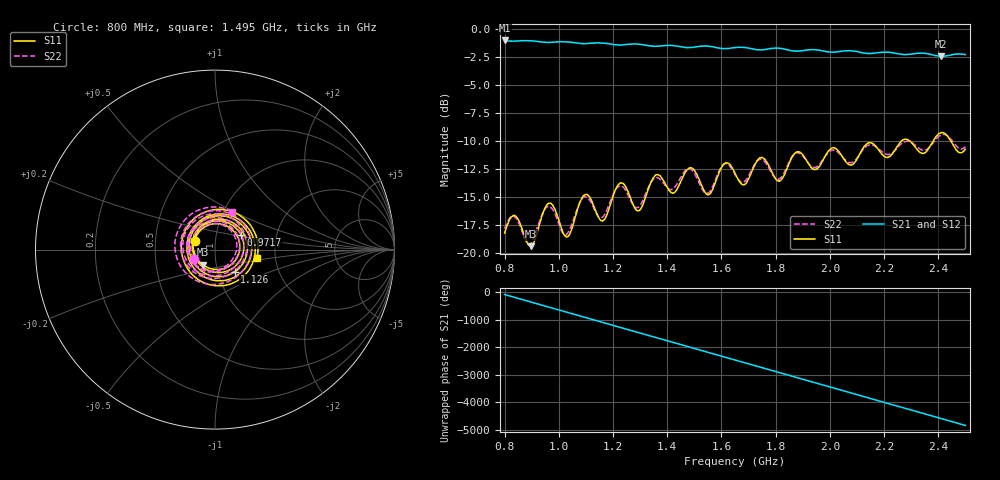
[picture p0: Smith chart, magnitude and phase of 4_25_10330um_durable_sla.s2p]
!Keysight Technologies N9950B: A.12.38
!Date: Tuesday, 25 April 2023 12:37:43
!Timezone: (UTC-06:00) Central Time (US & Canada)
!Model: N9950B
!Serial: MY61131330
!GPS Latitude:
!GPS Longitude:
!GPS TimeStamp: 0001-01-01 00:00:00Z
!GPS Seconds Since Last Read: 0
!CHECKSUM:1497885406
!Correction: S11(Rdy)S21(Rdy)S12(Rdy)S22(Rdy)
!S2P File: Measurements:S11,S21,S12,S22:
# Hz S DB R 50
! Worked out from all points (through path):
!   1001 points, 800 MHz to 2.5 GHz, reference 50 ohm
!   highest |S21| = -1.02 dB at 800 MHz (marker M1); lowest = -2.4 dB at 2.408 GHz (marker M2)
!   group delay of S21, straight-line fit = 7.78 ns
!   lowest |S11| = -19.4 dB at 898.6 MHz (marker M3), VSWR 1.24, Z = 43.1 - j7.32 ohm
!   |S11| at or under -10 dB: start of sweep to 2.264 GHz; 2.296 GHz to 2.381 GHz (84.85 MHz wide, 3.63 % of centre); 2.446 GHz to end of sweep
!   |S22| runs from -19.2 to -9.4 dB; largest |S21 - S12| = 0.0052
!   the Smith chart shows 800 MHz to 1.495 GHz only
!   S11 on the Smith chart (normalised r, x): 800 MHz: 0.79, +0.08; 971.7 MHz: 1.32, +0.22; 1.126 GHz: 1.20, -0.31; 1.495 GHz: 1.59, -0.17
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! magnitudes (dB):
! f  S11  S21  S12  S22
! 800 MHz  -18.2  -1.0  -1.0  -17.8
! 839.1 MHz  -16.7  -1.1  -1.1  -16.8
! 898.6 MHz  -19.4  -1.1  -1.1  -19.1
! 971.7 MHz  -15.6  -1.2  -1.2  -16.0
! 1.03 GHz  -18.6  -1.2  -1.1  -18.3
! 1.084 GHz  -15.1  -1.3  -1.3  -15.2
! 1.126 GHz  -15.6  -1.2  -1.3  -15.9
! 1.164 GHz  -17.1  -1.3  -1.3  -16.7
! 1.232 GHz  -13.7  -1.4  -1.4  -14.0
! 1.295 GHz  -16.2  -1.4  -1.4  -15.9
! 1.368 GHz  -13.0  -1.5  -1.5  -13.3
! 1.422 GHz  -14.6  -1.5  -1.5  -14.3
! 1.495 GHz  -12.5  -1.6  -1.6  -12.7
! 1.55 GHz  -14.8  -1.5  -1.5  -14.7
! 1.611 GHz  -12.0  -1.8  -1.8  -12.0
! 1.65 GHz  -12.9  -1.7  -1.7  -13.0
! 1.815 GHz  -13.6  -1.7  -1.7  -13.4
! 1.883 GHz  -10.9  -2.0  -2.0  -11.0
! 1.934 GHz  -12.4  -1.9  -1.9  -12.3
! 2.218 GHz  -11.4  -2.1  -2.1  -11.2
! 2.408 GHz  -9.3  -2.4  -2.4  -9.5
! 2.5 GHz  -10.7  -2.3  -2.3  -10.5
